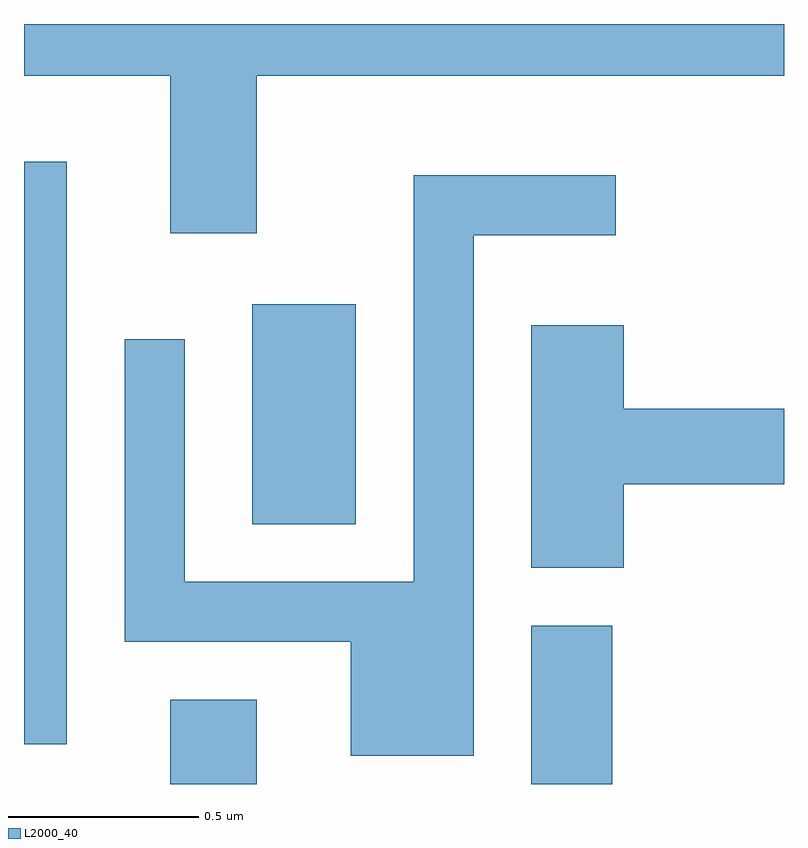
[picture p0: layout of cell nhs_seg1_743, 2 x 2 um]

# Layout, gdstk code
import gdstk
lib = gdstk.Library(unit=1e-6, precision=1e-09)
def R(c, l, rs):  # rectangles x0, y0, x1, y1
    for r in rs: c.add(gdstk.rectangle(r[:2], r[2:], *l))
def P(c, l, *ps):  # polygons
    for p in ps: c.add(gdstk.Polygon(p, *l))
L2000_40 = (2000, 40)

nhs_seg1_743 = lib.new_cell('nhs_seg1_743')
R(nhs_seg1_743, L2000_40, [(190.996,897.712,191.224,897.934), (191.946,897.712,192.159,898.129), (190.611,897.816,190.724,899.349), (191.211,898.396,191.484,898.974)])
P(nhs_seg1_743, L2000_40, [(191.224,899.576),(192.611,899.576),(192.611,899.712),(190.611,899.712),(190.611,899.576),(190.996,899.576),(190.996,899.161),(191.224,899.161)],
  [(191.794,899.156),(192.168,899.156),(192.168,899.314),(191.636,899.314),(191.636,898.244),(191.034,898.244),(191.034,898.883),(190.876,898.883),(190.876,898.086),(191.471,898.086),(191.471,897.786),(191.794,897.786)],
  [(192.189,898.501),(192.611,898.501),(192.611,898.699),(192.189,898.699),(192.189,898.919),(191.946,898.919),(191.946,898.281),(192.189,898.281)])

lib.write_gds('nhs_seg1_743.gds')
